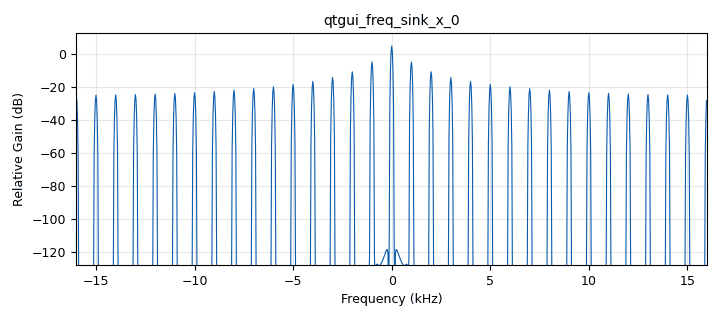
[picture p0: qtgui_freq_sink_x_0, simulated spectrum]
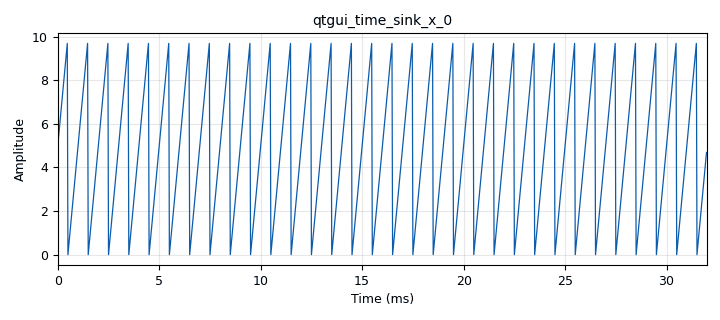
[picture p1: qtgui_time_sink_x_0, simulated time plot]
options:
  parameters:
    author: Valeria y Jorge
    copyright: UIS
    generate_options: qt_gui
    id: validar
    output_language: python
    title: Validacion Calculo Potencia
  states: {}

blocks:
- name: amp
  id: variable_qtgui_range
  parameters:
    label: Amplitud Señal
    start: '0'
    step: '1'
    stop: '100'
    value: '10'
  states: {}
- name: samp_rate
  id: variable
  parameters:
    value: '32000'
  states: {}
- name: CalculoPotencia_0
  id: CalculoPotencia
  parameters:
    I_vect: '1024'
  states: {}
- name: analog_sig_source_x_0
  id: analog_sig_source_x
  parameters:
    amp: amp
    freq: '1000'
    offset: '0'
    phase: '0'
    samp_rate: samp_rate
    type: float
    waveform: analog.GR_SAW_WAVE
  states: {}
- name: qtgui_freq_sink_x_0
  id: qtgui_freq_sink_x
  parameters:
    autoscale: 'True'
    bw: samp_rate
    fc: '0'
    fftsize: '1024'
    type: float
  states: {}
- name: qtgui_time_sink_x_0
  id: qtgui_time_sink_x
  parameters:
    autoscale: 'True'
    size: '1024'
    srate: samp_rate
    type: float
  states: {}

connections:
- [analog_sig_source_x_0, '0', CalculoPotencia_0, '0']
- [analog_sig_source_x_0, '0', qtgui_freq_sink_x_0, '0']
- [analog_sig_source_x_0, '0', qtgui_time_sink_x_0, '0']

metadata:
  file_format: 1
